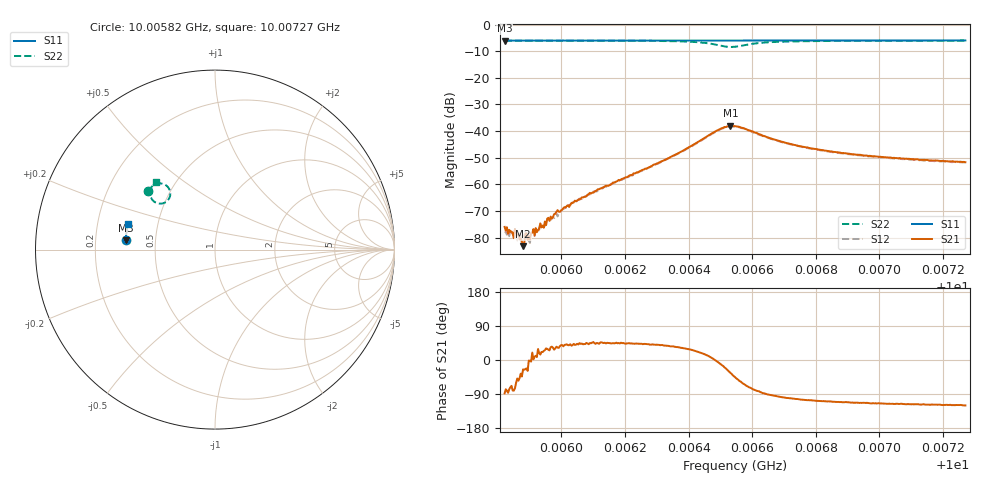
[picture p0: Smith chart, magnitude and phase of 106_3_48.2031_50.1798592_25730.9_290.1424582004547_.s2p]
#  HZ  S  RI  R  50.00
! Rohde & Schwarz Vector Network Analyzer
! Rohde-Schwarz,ZNB20-2Port,1311601062101988,3.16
! Created: UTC 3/20/2024, 11:40:48 AM
! freq[Hz]  re:S11  im:S11  re:S21  im:S21  re:S12  im:S12  re:S22  im:S22
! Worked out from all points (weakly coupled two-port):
!   401 points, 10.00582 GHz to 10.00727 GHz, reference 50 ohm
!   highest |S21| = -38.02 dB at 10.00653 GHz (marker M1); lowest = -83.3 dB at 10.00588 GHz (marker M2)
!   lowest |S11| = -6.0 dB at 10.00582 GHz (marker M3), VSWR 3.01, Z = 16.7 + j2.27 ohm
!   |S11| at or under -10 dB: nowhere
!   |S22| runs from -8.4 to -6.0 dB; largest |S21 - S12| = 0.0009
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1.0005821e10  -0.4986 0.051  5.16e-06 -0.000158  5.33e-05 -0.000116  -0.3756 0.3268
1.0005843e10  -0.4986 0.0523  4.81e-05 -0.00012  5.93e-05 -0.00011  -0.3742 0.3283
1.0005879e10  -0.4983 0.0547  6.25e-05 -2.87e-05  7.89e-05 -6.35e-05  -0.3723 0.3305
1.0005894e10  -0.4983 0.0557  7.91e-05 -4.34e-05  8.16e-05 -3.72e-05  -0.3715 0.3314
1.0005901e10  -0.4982 0.0561  9.17e-05 -3.37e-06  7.83e-05 1.17e-05  -0.3712 0.3319
1.0005912e10  -0.4982 0.0569  0.000144 4.26e-06  0.000127 2.35e-05  -0.3705 0.3325
1.0005923e10  -0.4981 0.0574  0.000125 1.71e-05  0.000121 1.05e-05  -0.3699 0.3334
1.0005926e10  -0.4982 0.0578  0.000121 6.7e-05  0.000124 3.92e-05  -0.3696 0.3336
1.0005937e10  -0.498 0.0585  0.000144 5.62e-05  0.000147 8.61e-05  -0.3691 0.3343
1.0005984e10  -0.4978 0.0616  0.000249 0.000175  0.000236 0.00016  -0.3662 0.3374
1.000601e10  -0.4975 0.0633  0.000286 0.000238  0.000266 0.00023  -0.3645 0.3392
1.0006064e10  -0.4973 0.0667  0.000411 0.000389  0.000373 0.000374  -0.3608 0.343
1.0006307e10  -0.4953 0.0826  0.00197 0.00165  0.00187 0.00166  -0.3328 0.3631
1.0006452e10  -0.4933 0.0921  0.00729 0.0019  0.00701 0.00218  -0.2759 0.3603
1.0006499e10  -0.4924 0.0948  0.0108 -0.00187  0.0106 -0.00125  -0.2494 0.3193
1.0006531e10  -0.4922 0.0964  0.0104 -0.00702  0.0103 -0.00621  -0.264 0.2736
1.0006546e10  -0.492 0.0969  0.00874 -0.00877  0.00907 -0.00819  -0.2821 0.2608
1.0006625e10  -0.492 0.1018  0.00081 -0.00859  0.00116 -0.0083  -0.3538 0.2842
1.0006698e10  -0.4914 0.1066  -0.000918 -0.00614  -0.00062 -0.00602  -0.3615 0.3143
1.0006788e10  -0.4904 0.1125  -0.00135 -0.00448  -0.00112 -0.00449  -0.3574 0.3348
1.0007031e10  -0.487 0.128  -0.00135 -0.00287  -0.0012 -0.00287  -0.3426 0.3613
1.000727e10  -0.4834 0.1431  -0.0013 -0.00226  -0.00115 -0.00229  -0.3291 0.377
